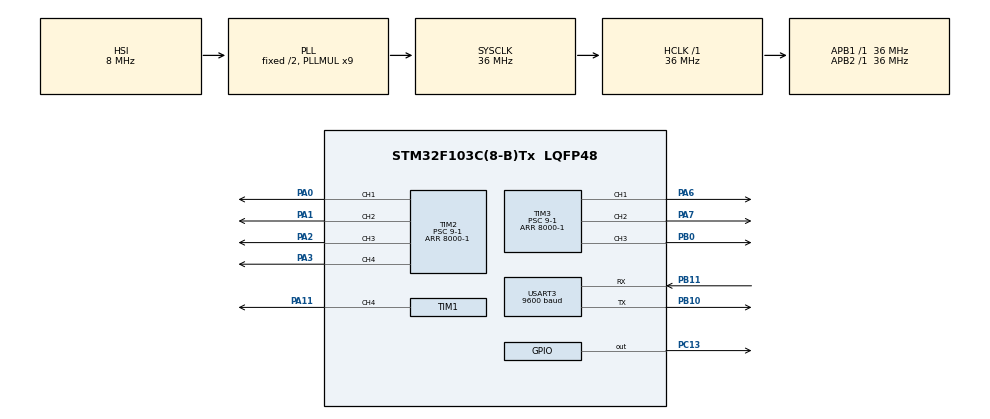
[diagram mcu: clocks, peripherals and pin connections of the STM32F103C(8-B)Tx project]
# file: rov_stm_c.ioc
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Mcu.Family=STM32F1
Mcu.Name=STM32F103C(8-B)Tx
Mcu.Package=LQFP48
NVIC.PriorityGroup=NVIC_PRIORITYGROUP_4
PA0-WKUP.Signal=S_TIM2_CH1_ETR
PA1.Signal=S_TIM2_CH2
PA11.Signal=S_TIM1_CH4
PA13.Mode=Serial_Wire
PA13.Signal=SYS_JTMS-SWDIO
PA14.Mode=Serial_Wire
PA14.Signal=SYS_JTCK-SWCLK
PA2.Signal=S_TIM2_CH3
PA3.Signal=S_TIM2_CH4
PA6.Signal=S_TIM3_CH1
PA7.Signal=S_TIM3_CH2
PB0.Signal=S_TIM3_CH3
PB10.Mode=Asynchronous
PB10.Signal=USART3_TX
PB11.Mode=Asynchronous
PB11.Signal=USART3_RX
PC13-TAMPER-RTC.Signal=GPIO_Output
PC14-OSC32_IN.Mode=LSE-External-Oscillator
PC14-OSC32_IN.Signal=RCC_OSC32_IN
PC15-OSC32_OUT.Mode=LSE-External-Oscillator
PC15-OSC32_OUT.Signal=RCC_OSC32_OUT
PD0-OSC_IN.Mode=HSE-External-Oscillator
PD0-OSC_IN.Signal=RCC_OSC_IN
PD1-OSC_OUT.Mode=HSE-External-Oscillator
PD1-OSC_OUT.Signal=RCC_OSC_OUT
ProjectManager.HeapSize=0x200
ProjectManager.StackSize=0x400
ProjectManager.TargetToolchain=STM32CubeIDE
RCC.AHBFreq_Value=36000000
RCC.APB1Freq_Value=36000000
RCC.APB1TimFreq_Value=36000000
RCC.APB2Freq_Value=36000000
RCC.APB2TimFreq_Value=36000000
RCC.HCLKFreq_Value=36000000
RCC.PLLMUL=RCC_PLL_MUL9
RCC.SYSCLKFreq_VALUE=36000000
RCC.SYSCLKSource=RCC_SYSCLKSOURCE_PLLCLK
RCC.USBFreq_Value=36000000
SH.S_TIM1_CH4.0=TIM1_CH4,PWM Generation4 CH4
SH.S_TIM2_CH1_ETR.0=TIM2_CH1,PWM Generation1 CH1
SH.S_TIM2_CH2.0=TIM2_CH2,PWM Generation2 CH2
SH.S_TIM2_CH3.0=TIM2_CH3,PWM Generation3 CH3
SH.S_TIM2_CH4.0=TIM2_CH4,PWM Generation4 CH4
SH.S_TIM3_CH1.0=TIM3_CH1,PWM Generation1 CH1
SH.S_TIM3_CH2.0=TIM3_CH2,PWM Generation2 CH2
SH.S_TIM3_CH3.0=TIM3_CH3,PWM Generation3 CH3
TIM1.Channel-PWM\ Generation4\ CH4=TIM_CHANNEL_4
TIM1.Period=8000-1
TIM1.Prescaler=9-1
TIM2.Channel-PWM\ Generation1\ CH1=TIM_CHANNEL_1
TIM2.Channel-PWM\ Generation2\ CH2=TIM_CHANNEL_2
TIM2.Channel-PWM\ Generation3\ CH3=TIM_CHANNEL_3
TIM2.Channel-PWM\ Generation4\ CH4=TIM_CHANNEL_4
TIM2.Period=8000-1
TIM2.Prescaler=9-1
TIM3.Channel-PWM\ Generation1\ CH1=TIM_CHANNEL_1
TIM3.Channel-PWM\ Generation2\ CH2=TIM_CHANNEL_2
TIM3.Channel-PWM\ Generation3\ CH3=TIM_CHANNEL_3
TIM3.Period=8000-1
TIM3.Prescaler=9-1
USART3.BaudRate=9600
USART3.VirtualMode=VM_ASYNC
VP_TIM1_VS_ClockSourceINT.Mode=Internal
VP_TIM2_VS_ClockSourceINT.Mode=Internal
VP_TIM3_VS_ClockSourceINT.Mode=Internal
board=custom

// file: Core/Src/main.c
/* USER CODE BEGIN Header */
/**
  ******************************************************************************
  * @file           : main.c
  * @brief          : Main program body
  ******************************************************************************
  * @attention
  *
  * Copyright (c) 2023 STMicroelectronics.
  * All rights reserved.
  *
  * This software is licensed under terms that can be found in the LICENSE file
  * in the root directory of this software component.
  * If no LICENSE file comes with this software, it is provided AS-IS.
  *
  ******************************************************************************
  */
/* USER CODE END Header */
#include "main.h"

/* USER CODE BEGIN Includes */
#include "string.h"
#include "stdio.h"
/* USER CODE END Includes */

TIM_HandleTypeDef htim1;
TIM_HandleTypeDef htim2;
TIM_HandleTypeDef htim3;

UART_HandleTypeDef huart3;

void SystemClock_Config(void);
static void MX_GPIO_Init(void);
static void MX_TIM2_Init(void);
static void MX_TIM3_Init(void);
static void MX_USART3_UART_Init(void);
static void MX_TIM1_Init(void);

/* USER CODE BEGIN 0 */

char bf[]={'A'};
uint8_t receivedData[8];
uint8_t motorverisi[7];
int x = 0;
/* USER CODE END 0 */

int main(void)
{

  /* MCU Configuration--------------------------------------------------------*/

  /* Reset of all peripherals, Initializes the Flash interface and the Systick. */
  HAL_Init();

  /* Configure the system clock */
  SystemClock_Config();

  /* Initialize all configured peripherals */
  MX_GPIO_Init();
  MX_TIM2_Init();
  MX_TIM3_Init();
  MX_USART3_UART_Init();
  MX_TIM1_Init();
  /* USER CODE BEGIN 2 */
  HAL_GPIO_WritePin(GPIOC, GPIO_PIN_13, GPIO_PIN_SET);
  HAL_TIM_PWM_Start(&htim1, TIM_CHANNEL_4);

  HAL_TIM_PWM_Start(&htim2, TIM_CHANNEL_1); // motor1
  HAL_TIM_PWM_Start(&htim2, TIM_CHANNEL_2); // motor2
  HAL_TIM_PWM_Start(&htim2, TIM_CHANNEL_3); // motor3
  HAL_TIM_PWM_Start(&htim2, TIM_CHANNEL_4); // motor4
  HAL_TIM_PWM_Start(&htim3, TIM_CHANNEL_1); // motor5
  HAL_TIM_PWM_Start(&htim3, TIM_CHANNEL_2); // motor6
  HAL_TIM_PWM_Start(&htim3, TIM_CHANNEL_3); // firlatma
  /* USER CODE END 2 */

  /* Infinite loop */
  /* USER CODE BEGIN WHILE */
  memset(motorverisi, 80, 7*sizeof(*motorverisi));
  __HAL_TIM_SET_COMPARE(&htim1,TIM_CHANNEL_4, 0);

  __HAL_TIM_SET_COMPARE(&htim2,TIM_CHANNEL_1, 0);
  __HAL_TIM_SET_COMPARE(&htim2,TIM_CHANNEL_2, 0);
  __HAL_TIM_SET_COMPARE(&htim2,TIM_CHANNEL_3, 0);
  __HAL_TIM_SET_COMPARE(&htim2,TIM_CHANNEL_4, 0);
  __HAL_TIM_SET_COMPARE(&htim3,TIM_CHANNEL_1, 0);
  __HAL_TIM_SET_COMPARE(&htim3,TIM_CHANNEL_2, 0);
  __HAL_TIM_SET_COMPARE(&htim3,TIM_CHANNEL_3, 0);
  while (1)
  {
	  memset(receivedData, 0, 8*sizeof(*receivedData));
	  if (HAL_UART_Receive(&huart3, receivedData, sizeof(receivedData), 100) == HAL_OK)
	  {
		  if (receivedData[7] == '_')
		  {
			  HAL_GPIO_WritePin(GPIOC, GPIO_PIN_13, GPIO_PIN_RESET);
			  __HAL_TIM_SET_COMPARE(&htim1, TIM_CHANNEL_4, 0);
			  motorverisi[0] = receivedData[0];
			  motorverisi[1] = receivedData[1];
			  motorverisi[2] = receivedData[2];
			  motorverisi[3] = receivedData[3];
			  motorverisi[4] = receivedData[4];
			  motorverisi[5] = receivedData[5];
			  motorverisi[6] = receivedData[6];
			  __HAL_TIM_SET_COMPARE(&htim2,TIM_CHANNEL_1, (4000 + ((motorverisi[0]-40)*50)));
			  __HAL_TIM_SET_COMPARE(&htim2,TIM_CHANNEL_2, (4000 + ((motorverisi[1]-40)*50)));
			  __HAL_TIM_SET_COMPARE(&htim2,TIM_CHANNEL_3, (4000 + ((motorverisi[2]-40)*50)));
			  __HAL_TIM_SET_COMPARE(&htim2,TIM_CHANNEL_4, (4000 + ((motorverisi[3]-40)*50)));
			  __HAL_TIM_SET_COMPARE(&htim3,TIM_CHANNEL_1, (4000 + ((motorverisi[4]-40)*50)));
			  __HAL_TIM_SET_COMPARE(&htim3,TIM_CHANNEL_2, (4000 + ((motorverisi[5]-40)*50)));
			  __HAL_TIM_SET_COMPARE(&htim3,TIM_CHANNEL_3, (4000 + ((motorverisi[6]-40)*50)));
		  }
		  else if(receivedData[7] != 0)
		  {
			  HAL_GPIO_WritePin(GPIOC, GPIO_PIN_13, GPIO_PIN_SET);
			  __HAL_TIM_SET_COMPARE(&htim1, TIM_CHANNEL_4, 7999);
			  while(motorverisi[0] != 80 || motorverisi[1] != 80 || motorverisi[2] != 80 || motorverisi[3] != 80 || motorverisi[4] != 80 || motorverisi[5] != 80|| motorverisi[6] != 80)
			  {
				  while( x < 7)
				  {
					  if(motorverisi[x] == 80)
					  {

					  }
					  else if(motorverisi[x] > 80 && motorverisi[x] < 121)
					  {
						  motorverisi[x]--;
					  }
					  else if(motorverisi[x] < 80 && motorverisi[x] > 39)
					  {
						  motorverisi[x]++;
					  }
					  x++;
				  }
				  __HAL_TIM_SET_COMPARE(&htim2,TIM_CHANNEL_1, (4000 + ((motorverisi[0]-40)*50)));
				  __HAL_TIM_SET_COMPARE(&htim2,TIM_CHANNEL_2, (4000 + ((motorverisi[1]-40)*50)));
				  __HAL_TIM_SET_COMPARE(&htim2,TIM_CHANNEL_3, (4000 + ((motorverisi[2]-40)*50)));
				  __HAL_TIM_SET_COMPARE(&htim2,TIM_CHANNEL_4, (4000 + ((motorverisi[3]-40)*50)));
				  __HAL_TIM_SET_COMPARE(&htim3,TIM_CHANNEL_1, (4000 + ((motorverisi[4]-40)*50)));
				  __HAL_TIM_SET_COMPARE(&htim3,TIM_CHANNEL_2, (4000 + ((motorverisi[5]-40)*50)));
				  __HAL_TIM_SET_COMPARE(&htim3,TIM_CHANNEL_3, (4000 + ((motorverisi[6]-40)*50)));
				  x = 0;
				  HAL_Delay(50);
			  }
			  __HAL_TIM_SET_COMPARE(&htim2,TIM_CHANNEL_1, 0);
			  __HAL_TIM_SET_COMPARE(&htim2,TIM_CHANNEL_2, 0);
			  __HAL_TIM_SET_COMPARE(&htim2,TIM_CHANNEL_3, 0);
			  __HAL_TIM_SET_COMPARE(&htim2,TIM_CHANNEL_4, 0);
			  __HAL_TIM_SET_COMPARE(&htim3,TIM_CHANNEL_1, 0);
			  __HAL_TIM_SET_COMPARE(&htim3,TIM_CHANNEL_2, 0);
			  __HAL_TIM_SET_COMPARE(&htim3,TIM_CHANNEL_3, 0);
			  for(int x = 0; x < 30; x++)
			  {
				  HAL_UART_Transmit (&huart3, (uint8_t*)bf, 1, 20);
			  }
		  }
		  memset(receivedData, 0, 7*sizeof(*receivedData));
	  }
	  else
	  {
		  HAL_GPIO_WritePin(GPIOC, GPIO_PIN_13, GPIO_PIN_SET);
		  __HAL_TIM_SET_COMPARE(&htim1, TIM_CHANNEL_4, 0);
		  while(motorverisi[0] != 80 || motorverisi[1] != 80 || motorverisi[2] != 80 || motorverisi[3] != 80 || motorverisi[4] != 80 || motorverisi[5] != 80 || motorverisi[6] != 80)
		  {
			  while( x < 7)
			  {
				  if(motorverisi[x] == 80)
				  {

				  }
				  else if(motorverisi[x] > 80 && motorverisi[x] < 121)
				  {
					  motorverisi[x]--;
				  }
				  else if(motorverisi[x] < 80 && motorverisi[x] > 39)
				  {
					  motorverisi[x]++;
				  }
				  x++;
			  }
			  __HAL_TIM_SET_COMPARE(&htim2,TIM_CHANNEL_1, (4000 + ((motorverisi[0]-40)*50)));
			  __HAL_TIM_SET_COMPARE(&htim2,TIM_CHANNEL_2, (4000 + ((motorverisi[1]-40)*50)));
			  __HAL_TIM_SET_COMPARE(&htim2,TIM_CHANNEL_3, (4000 + ((motorverisi[2]-40)*50)));
			  __HAL_TIM_SET_COMPARE(&htim2,TIM_CHANNEL_4, (4000 + ((motorverisi[3]-40)*50)));
			  __HAL_TIM_SET_COMPARE(&htim3,TIM_CHANNEL_1, (4000 + ((motorverisi[4]-40)*50)));
			  __HAL_TIM_SET_COMPARE(&htim3,TIM_CHANNEL_2, (4000 + ((motorverisi[5]-40)*50)));
			  __HAL_TIM_SET_COMPARE(&htim3,TIM_CHANNEL_3, (4000 + ((motorverisi[6]-40)*50)));
			  x = 0;
			  HAL_Delay(50);
		  }
		  __HAL_TIM_SET_COMPARE(&htim2,TIM_CHANNEL_1, 0);
		  __HAL_TIM_SET_COMPARE(&htim2,TIM_CHANNEL_2, 0);
		  __HAL_TIM_SET_COMPARE(&htim2,TIM_CHANNEL_3, 0);
		  __HAL_TIM_SET_COMPARE(&htim2,TIM_CHANNEL_4, 0);
		  __HAL_TIM_SET_COMPARE(&htim3,TIM_CHANNEL_1, 0);
		  __HAL_TIM_SET_COMPARE(&htim3,TIM_CHANNEL_2, 0);
		  __HAL_TIM_SET_COMPARE(&htim3,TIM_CHANNEL_3, 0);
	  }

    /* USER CODE END WHILE */

  }
}

void SystemClock_Config(void)
{
  RCC_OscInitTypeDef RCC_OscInitStruct = {0};
  RCC_ClkInitTypeDef RCC_ClkInitStruct = {0};

  /** Initializes the RCC Oscillators according to the specified parameters
  * in the RCC_OscInitTypeDef structure.
  */
  RCC_OscInitStruct.OscillatorType = RCC_OSCILLATORTYPE_HSI;
  RCC_OscInitStruct.HSIState = RCC_HSI_ON;
  RCC_OscInitStruct.HSICalibrationValue = RCC_HSICALIBRATION_DEFAULT;
  RCC_OscInitStruct.PLL.PLLState = RCC_PLL_ON;
  RCC_OscInitStruct.PLL.PLLSource = RCC_PLLSOURCE_HSI_DIV2;
  RCC_OscInitStruct.PLL.PLLMUL = RCC_PLL_MUL9;
  if (HAL_RCC_OscConfig(&RCC_OscInitStruct) != HAL_OK)
  {
    Error_Handler();
  }

  /** Initializes the CPU, AHB and APB buses clocks
  */
  RCC_ClkInitStruct.ClockType = RCC_CLOCKTYPE_HCLK|RCC_CLOCKTYPE_SYSCLK
                              |RCC_CLOCKTYPE_PCLK1|RCC_CLOCKTYPE_PCLK2;
  RCC_ClkInitStruct.SYSCLKSource = RCC_SYSCLKSOURCE_PLLCLK;
  RCC_ClkInitStruct.AHBCLKDivider = RCC_SYSCLK_DIV1;
  RCC_ClkInitStruct.APB1CLKDivider = RCC_HCLK_DIV1;
  RCC_ClkInitStruct.APB2CLKDivider = RCC_HCLK_DIV1;

  if (HAL_RCC_ClockConfig(&RCC_ClkInitStruct, FLASH_LATENCY_1) != HAL_OK)
  {
    Error_Handler();
  }
}

static void MX_TIM1_Init(void)
{

  TIM_ClockConfigTypeDef sClockSourceConfig = {0};
  TIM_MasterConfigTypeDef sMasterConfig = {0};
  TIM_OC_InitTypeDef sConfigOC = {0};
  TIM_BreakDeadTimeConfigTypeDef sBreakDeadTimeConfig = {0};

  htim1.Instance = TIM1;
  htim1.Init.Prescaler = 9-1;
  htim1.Init.CounterMode = TIM_COUNTERMODE_UP;
  htim1.Init.Period = 8000-1;
  htim1.Init.ClockDivision = TIM_CLOCKDIVISION_DIV1;
  htim1.Init.RepetitionCounter = 0;
  htim1.Init.AutoReloadPreload = TIM_AUTORELOAD_PRELOAD_DISABLE;
  if (HAL_TIM_Base_Init(&htim1) != HAL_OK)
  {
    Error_Handler();
  }
  sClockSourceConfig.ClockSource = TIM_CLOCKSOURCE_INTERNAL;
  if (HAL_TIM_ConfigClockSource(&htim1, &sClockSourceConfig) != HAL_OK)
  {
    Error_Handler();
  }
  if (HAL_TIM_PWM_Init(&htim1) != HAL_OK)
  {
    Error_Handler();
  }
  sMasterConfig.MasterOutputTrigger = TIM_TRGO_RESET;
  sMasterConfig.MasterSlaveMode = TIM_MASTERSLAVEMODE_DISABLE;
  if (HAL_TIMEx_MasterConfigSynchronization(&htim1, &sMasterConfig) != HAL_OK)
  {
    Error_Handler();
  }
  sConfigOC.OCMode = TIM_OCMODE_PWM1;
  sConfigOC.Pulse = 0;
  sConfigOC.OCPolarity = TIM_OCPOLARITY_HIGH;
  sConfigOC.OCFastMode = TIM_OCFAST_DISABLE;
  sConfigOC.OCIdleState = TIM_OCIDLESTATE_RESET;
  sConfigOC.OCNIdleState = TIM_OCNIDLESTATE_RESET;
  if (HAL_TIM_PWM_ConfigChannel(&htim1, &sConfigOC, TIM_CHANNEL_4) != HAL_OK)
  {
    Error_Handler();
  }
  sBreakDeadTimeConfig.OffStateRunMode = TIM_OSSR_DISABLE;
  sBreakDeadTimeConfig.OffStateIDLEMode = TIM_OSSI_DISABLE;
  sBreakDeadTimeConfig.LockLevel = TIM_LOCKLEVEL_OFF;
  sBreakDeadTimeConfig.DeadTime = 0;
  sBreakDeadTimeConfig.BreakState = TIM_BREAK_DISABLE;
  sBreakDeadTimeConfig.BreakPolarity = TIM_BREAKPOLARITY_HIGH;
  sBreakDeadTimeConfig.AutomaticOutput = TIM_AUTOMATICOUTPUT_DISABLE;
  if (HAL_TIMEx_ConfigBreakDeadTime(&htim1, &sBreakDeadTimeConfig) != HAL_OK)
  {
    Error_Handler();
  }
  HAL_TIM_MspPostInit(&htim1);

}

static void MX_TIM2_Init(void)
{

  TIM_ClockConfigTypeDef sClockSourceConfig = {0};
  TIM_MasterConfigTypeDef sMasterConfig = {0};
  TIM_OC_InitTypeDef sConfigOC = {0};

  htim2.Instance = TIM2;
  htim2.Init.Prescaler = 9-1;
  htim2.Init.CounterMode = TIM_COUNTERMODE_UP;
  htim2.Init.Period = 8000-1;
  htim2.Init.ClockDivision = TIM_CLOCKDIVISION_DIV1;
  htim2.Init.AutoReloadPreload = TIM_AUTORELOAD_PRELOAD_DISABLE;
  if (HAL_TIM_Base_Init(&htim2) != HAL_OK)
  {
    Error_Handler();
  }
  sClockSourceConfig.ClockSource = TIM_CLOCKSOURCE_INTERNAL;
  if (HAL_TIM_ConfigClockSource(&htim2, &sClockSourceConfig) != HAL_OK)
  {
    Error_Handler();
  }
  if (HAL_TIM_PWM_Init(&htim2) != HAL_OK)
  {
    Error_Handler();
  }
  sMasterConfig.MasterOutputTrigger = TIM_TRGO_RESET;
  sMasterConfig.MasterSlaveMode = TIM_MASTERSLAVEMODE_DISABLE;
  if (HAL_TIMEx_MasterConfigSynchronization(&htim2, &sMasterConfig) != HAL_OK)
  {
    Error_Handler();
  }
  sConfigOC.OCMode = TIM_OCMODE_PWM1;
  sConfigOC.Pulse = 0;
  sConfigOC.OCPolarity = TIM_OCPOLARITY_HIGH;
  sConfigOC.OCFastMode = TIM_OCFAST_DISABLE;
  if (HAL_TIM_PWM_ConfigChannel(&htim2, &sConfigOC, TIM_CHANNEL_1) != HAL_OK)
  {
    Error_Handler();
  }
  if (HAL_TIM_PWM_ConfigChannel(&htim2, &sConfigOC, TIM_CHANNEL_2) != HAL_OK)
  {
    Error_Handler();
  }
  if (HAL_TIM_PWM_ConfigChannel(&htim2, &sConfigOC, TIM_CHANNEL_3) != HAL_OK)
  {
    Error_Handler();
  }
  if (HAL_TIM_PWM_ConfigChannel(&htim2, &sConfigOC, TIM_CHANNEL_4) != HAL_OK)
  {
    Error_Handler();
  }
  HAL_TIM_MspPostInit(&htim2);

}

static void MX_TIM3_Init(void)
{

  TIM_ClockConfigTypeDef sClockSourceConfig = {0};
  TIM_MasterConfigTypeDef sMasterConfig = {0};
  TIM_OC_InitTypeDef sConfigOC = {0};

  htim3.Instance = TIM3;
  htim3.Init.Prescaler = 9-1;
  htim3.Init.CounterMode = TIM_COUNTERMODE_UP;
  htim3.Init.Period = 8000-1;
  htim3.Init.ClockDivision = TIM_CLOCKDIVISION_DIV1;
  htim3.Init.AutoReloadPreload = TIM_AUTORELOAD_PRELOAD_DISABLE;
  if (HAL_TIM_Base_Init(&htim3) != HAL_OK)
  {
    Error_Handler();
  }
  sClockSourceConfig.ClockSource = TIM_CLOCKSOURCE_INTERNAL;
  if (HAL_TIM_ConfigClockSource(&htim3, &sClockSourceConfig) != HAL_OK)
  {
    Error_Handler();
  }
  if (HAL_TIM_PWM_Init(&htim3) != HAL_OK)
  {
    Error_Handler();
  }
  sMasterConfig.MasterOutputTrigger = TIM_TRGO_RESET;
  sMasterConfig.MasterSlaveMode = TIM_MASTERSLAVEMODE_DISABLE;
  if (HAL_TIMEx_MasterConfigSynchronization(&htim3, &sMasterConfig) != HAL_OK)
  {
    Error_Handler();
  }
  sConfigOC.OCMode = TIM_OCMODE_PWM1;
  sConfigOC.Pulse = 0;
  sConfigOC.OCPolarity = TIM_OCPOLARITY_HIGH;
  sConfigOC.OCFastMode = TIM_OCFAST_DISABLE;
  if (HAL_TIM_PWM_ConfigChannel(&htim3, &sConfigOC, TIM_CHANNEL_1) != HAL_OK)
  {
    Error_Handler();
  }
  if (HAL_TIM_PWM_ConfigChannel(&htim3, &sConfigOC, TIM_CHANNEL_2) != HAL_OK)
  {
    Error_Handler();
  }
  if (HAL_TIM_PWM_ConfigChannel(&htim3, &sConfigOC, TIM_CHANNEL_3) != HAL_OK)
  {
    Error_Handler();
  }
  HAL_TIM_MspPostInit(&htim3);

}

static void MX_USART3_UART_Init(void)
{

  huart3.Instance = USART3;
  huart3.Init.BaudRate = 9600;
  huart3.Init.WordLength = UART_WORDLENGTH_8B;
  huart3.Init.StopBits = UART_STOPBITS_1;
  huart3.Init.Parity = UART_PARITY_NONE;
  huart3.Init.Mode = UART_MODE_TX_RX;
  huart3.Init.HwFlowCtl = UART_HWCONTROL_NONE;
  huart3.Init.OverSampling = UART_OVERSAMPLING_16;
  if (HAL_UART_Init(&huart3) != HAL_OK)
  {
    Error_Handler();
  }

}

static void MX_GPIO_Init(void)
{
  GPIO_InitTypeDef GPIO_InitStruct = {0};

  /* GPIO Ports Clock Enable */
  __HAL_RCC_GPIOC_CLK_ENABLE();
  __HAL_RCC_GPIOD_CLK_ENABLE();
  __HAL_RCC_GPIOA_CLK_ENABLE();
  __HAL_RCC_GPIOB_CLK_ENABLE();

  /*Configure GPIO pin Output Level */
  HAL_GPIO_WritePin(GPIOC, GPIO_PIN_13, GPIO_PIN_RESET);

  /*Configure GPIO pin : PC13 */
  GPIO_InitStruct.Pin = GPIO_PIN_13;
  GPIO_InitStruct.Mode = GPIO_MODE_OUTPUT_PP;
  GPIO_InitStruct.Pull = GPIO_NOPULL;
  GPIO_InitStruct.Speed = GPIO_SPEED_FREQ_LOW;
  HAL_GPIO_Init(GPIOC, &GPIO_InitStruct);

}

void Error_Handler(void)
{
  __disable_irq();
  while (1)
  {
  }
}
